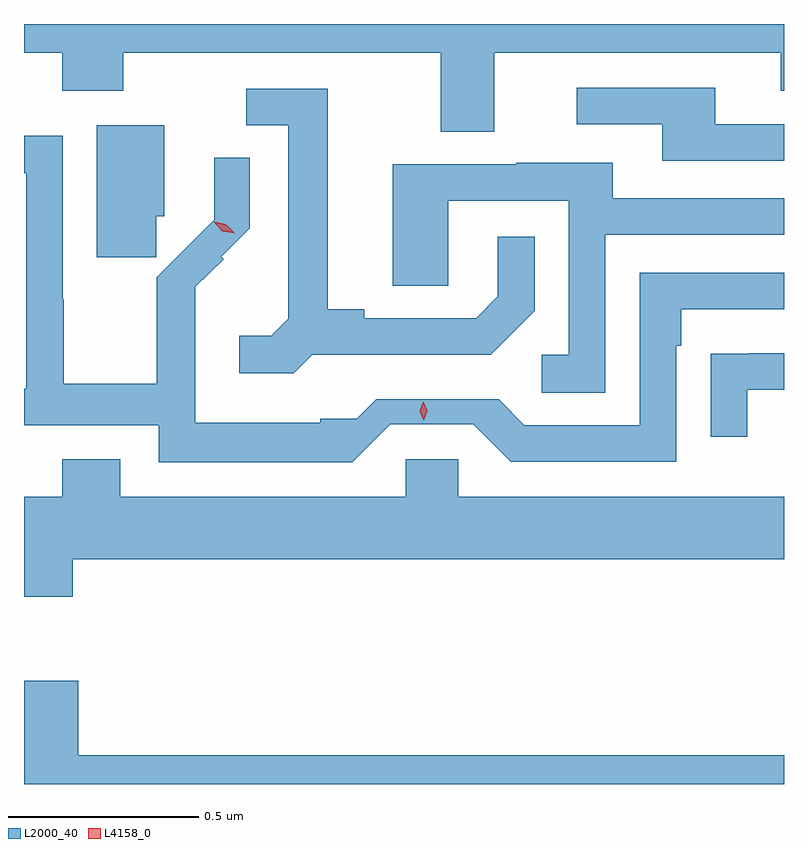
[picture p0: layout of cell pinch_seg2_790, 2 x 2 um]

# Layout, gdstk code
import gdstk
lib = gdstk.Library(unit=1e-6, precision=1e-09)
def P(c, l, *ps):  # polygons
    for p in ps: c.add(gdstk.Polygon(p, *l))
L2000_40 = (2000, 40)
L4158_0 = (4158, 0)

pinch_seg2_790 = lib.new_cell('pinch_seg2_790')
P(pinch_seg2_790, L2000_40, [(734.023,646.304),(734.777,646.304),(734.777,646.205),(734.786,646.205),(734.786,646.38),(732.786,646.38),(732.786,646.304),(732.887,646.304),(732.887,646.205),(733.047,646.205),(733.047,646.304),(733.883,646.304),(733.883,646.096),(734.023,646.096)],
  [(734.786,646.116),(734.605,646.116),(734.605,646.212),(734.241,646.212),(734.241,646.116),(734.465,646.116),(734.465,646.02),(734.786,646.02)],
  [(733.544,645.509),(733.642,645.509),(733.642,645.51),(734.014,645.51),(734.13,645.626),(734.13,645.82),(734.033,645.82),(734.033,645.663),(733.976,645.606),(733.681,645.606),(733.681,645.629),(733.585,645.629),(733.585,646.209),(733.371,646.209),(733.371,646.113),(733.481,646.113),(733.481,645.605),(733.436,645.56),(733.353,645.56),(733.353,645.461),(733.496,645.461)],
  [(733.134,645.874),(733.155,645.874),(733.155,646.114),(732.977,646.114),(732.977,645.766),(733.134,645.766)],
  [(733.75,645.327),(733.968,645.327),(734.067,645.228),(734.502,645.228),(734.502,645.533),(734.515,645.533),(734.515,645.63),(734.786,645.63),(734.786,645.726),(734.406,645.726),(734.406,645.324),(734.103,645.324),(734.035,645.393),(733.713,645.393),(733.661,645.341),(733.566,645.341),(733.566,645.331),(733.237,645.331),(733.237,645.688),(733.311,645.761),(733.305,645.767),(733.38,645.842),(733.38,646.028),(733.286,646.028),(733.286,645.865),(733.135,645.714),(733.135,645.433),(732.891,645.433),(732.891,645.656),(732.888,645.656),(732.888,646.086),(732.786,646.086),(732.786,645.987),(732.792,645.987),(732.792,645.42),(732.786,645.42),(732.786,645.324),(733.14,645.324),(733.14,645.227),(733.65,645.227)],
  [(734.316,645.825),(734.786,645.825),(734.786,645.921),(734.335,645.921),(734.335,646.015),(734.081,646.015),(734.081,646.011),(733.757,646.011),(733.757,645.691),(733.902,645.691),(733.902,645.915),(734.22,645.915),(734.22,645.51),(734.148,645.51),(734.148,645.409),(734.316,645.409)],
  [(734.689,645.417),(734.786,645.417),(734.786,645.513),(734.695,645.513),(734.695,645.512),(734.593,645.512),(734.593,645.294),(734.689,645.294)],
  [(732.914,644.972),(734.786,644.972),(734.786,645.136),(733.929,645.136),(733.929,645.234),(733.791,645.234),(733.791,645.136),(733.039,645.136),(733.039,645.235),(732.887,645.235),(732.887,645.136),(732.786,645.136),(732.786,644.873),(732.914,644.873)],
  [(734.786,644.456),(732.929,644.456),(732.929,644.652),(732.786,644.652),(732.786,644.38),(734.786,644.38)])
P(pinch_seg2_790, L4158_0, [(733.838,645.337),(733.838,645.337),(733.827,645.361),(733.836,645.386),(733.836,645.386),(733.837,645.386),(733.847,645.362),(733.838,645.337)],
  [(733.34,645.829),(733.308,645.835),(733.285,645.859),(733.285,645.859),(733.286,645.859),(733.317,645.853),(733.34,645.83),(733.34,645.83)])

lib.write_gds('pinch_seg2_790.gds')
